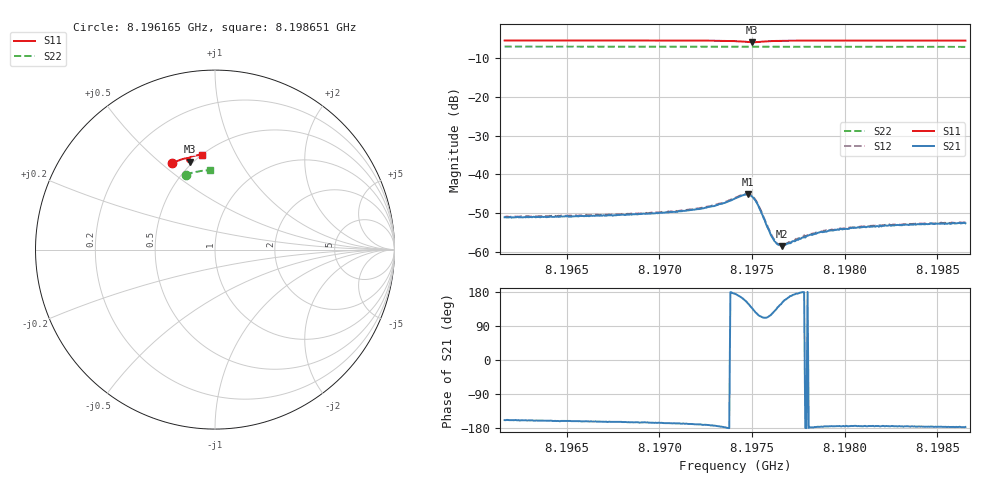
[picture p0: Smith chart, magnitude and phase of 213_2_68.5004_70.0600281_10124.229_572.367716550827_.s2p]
#  HZ  S  RI  R  50.00
! Rohde & Schwarz Vector Network Analyzer
! Rohde-Schwarz,ZNB20-2Port,1311601062101988,3.16
! Created: UTC 3/20/2024, 5:13:14 PM
! freq[Hz]  re:S11  im:S11  re:S21  im:S21  re:S12  im:S12  re:S22  im:S22
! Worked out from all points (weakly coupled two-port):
!   401 points, 8.196165 GHz to 8.198651 GHz, reference 50 ohm
!   highest |S21| = -45.22 dB at 8.197477 GHz (marker M1); lowest = -58.6 dB at 8.197663 GHz (marker M2)
!   lowest |S11| = -5.9 dB at 8.197502 GHz (marker M3), VSWR 3.08, Z = 24 + j31.7 ohm
!   |S11| at or under -10 dB: nowhere
!   |S22| runs from -7.1 to -7.0 dB; largest |S21 - S12| = 0.00028
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8.1961653e9  -0.2371 0.4816  -0.00259 -0.00101  -0.00266 -0.000957  -0.1635 0.4168
8.1965818e9  -0.2094 0.4937  -0.00275 -0.000874  -0.00284 -0.000781  -0.1413 0.4242
8.1969982e9  -0.1805 0.5043  -0.00306 -0.000786  -0.00314 -0.000664  -0.1187 0.4305
8.1971101e9  -0.1718 0.5067  -0.00325 -0.000726  -0.00332 -0.000611  -0.1125 0.4318
8.1972282e9  -0.1619 0.5089  -0.00355 -0.000583  -0.00366 -0.000461  -0.1059 0.4332
8.1973462e9  -0.15 0.5094  -0.00423 -0.000218  -0.00431 -5.11e-05  -0.0992 0.4344
8.1974084e9  -0.142 0.5067  -0.00485 0.000463  -0.00489 0.000658  -0.0957 0.435
8.1974519e9  -0.1371 0.5001  -0.00509 0.00168  -0.00512 0.00193  -0.0933 0.4353
8.1974768e9  -0.1372 0.4942  -0.00475 0.00274  -0.00474 0.00292  -0.092 0.4353
8.1975016e9  -0.142 0.489  -0.0037 0.00356  -0.00361 0.00382  -0.0909 0.4354
8.1975141e9  -0.1456 0.4884  -0.00296 0.0037  -0.00286 0.00391  -0.0903 0.4356
8.1975327e9  -0.1508 0.4899  -0.00195 0.00348  -0.00185 0.00361  -0.0893 0.436
8.1975886e9  -0.1546 0.5015  -0.000805 0.00179  -0.000744 0.00184  -0.0864 0.4366
8.1976135e9  -0.1529 0.5053  -0.000851 0.00121  -0.000783 0.00127  -0.0851 0.4371
8.1976384e9  -0.1506 0.5081  -0.000938 0.000813  -0.000905 0.00087  -0.0836 0.4374
8.1976508e9  -0.1494 0.5093  -0.000996 0.000688  -0.000971 0.000762  -0.0828 0.4374
8.1976632e9  -0.1482 0.5104  -0.00104 0.000558  -0.00105 0.000634  -0.0822 0.4375
8.1978248e9  -0.1336 0.5175  -0.00164 -6.73e-05  -0.0017 1.43e-05  -0.0731 0.439
8.197887e9  -0.1285 0.5191  -0.00179 -0.000144  -0.00187 -4.78e-05  -0.0695 0.4393
8.1979678e9  -0.1222 0.5208  -0.0019 -0.000194  -0.00195 -0.000107  -0.0649 0.4401
8.1982412e9  -0.102 0.5252  -0.00221 -0.000199  -0.00224 -0.000102  -0.0495 0.4413
8.1986515e9  -0.0724 0.5296  -0.00232 -0.000135  -0.00238 -2.71e-05  -0.0262 0.4427
